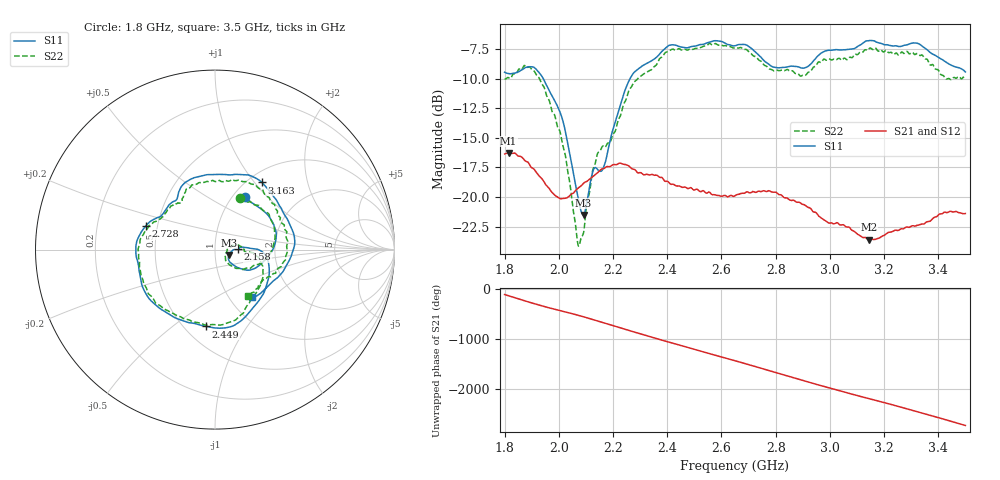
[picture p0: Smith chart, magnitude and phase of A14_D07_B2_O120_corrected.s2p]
! Created with skrf 1.9.0 (http://scikit-rf.org).
# Hz S RI R 50.0
!freq ReS11 ImS11 ReS21 ImS21 ReS12 ImS12 ReS22 ImS22
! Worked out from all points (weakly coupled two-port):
!   1601 points, 1.8 GHz to 3.5 GHz, reference 50 ohm
!   highest |S21| = -16.27 dB at 1.815 GHz (marker M1); lowest = -23.6 dB at 3.144 GHz (marker M2)
!   lowest |S11| = -21.5 dB at 2.091 GHz (marker M3), VSWR 1.18, Z = 58.4 - j3.46 ohm
!   |S11| at or under -10 dB: 1.943 GHz to 2.263 GHz (319.9 MHz wide, 15.2 % of centre)
!   |S22| runs from -24.2 to -7.0 dB; largest |S21 - S12| = 0.0029
!   S11 on the Smith chart (normalised r, x): 1.8 GHz: 1.13, +0.75; 2.158 GHz: 1.30, +0.01; 2.449 GHz: 0.64, -0.67; 2.728 GHz: 0.43, +0.14; 3.163 GHz: 1.16, +1.09; 3.5 GHz: 1.27, -0.76
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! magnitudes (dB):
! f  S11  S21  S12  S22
! 1.8 GHz  -9.5  -16.4  -16.4  -10.0
! 1.815 GHz  -9.6  -16.3  -16.3  -9.9
! 1.881 GHz  -9.0  -17.0  -17.0  -9.0
! 1.942 GHz  -10.0  -18.6  -18.6  -10.6
! 2.013 GHz  -13.4  -20.1  -20.1  -15.4
! 2.068 GHz  -19.7  -19.3  -19.3  -23.6
! 2.084 GHz  -21.3  -19.0  -19.0  -23.4
! 2.091 GHz  -21.5  -18.8  -18.9  -23.0
! 2.127 GHz  -17.7  -18.3  -18.2  -17.6
! 2.158 GHz  -17.8  -17.6  -17.6  -15.8
! 2.26 GHz  -10.1  -17.4  -17.4  -10.9
! 2.367 GHz  -8.0  -18.3  -18.2  -8.5
! 2.449 GHz  -7.3  -19.1  -19.1  -7.5
! 2.65 GHz  -7.2  -19.9  -19.9  -7.4
! 2.728 GHz  -7.8  -19.6  -19.6  -8.2
! 2.798 GHz  -9.0  -19.6  -19.6  -9.3
! 2.934 GHz  -8.7  -21.1  -21.1  -9.2
! 3.144 GHz  -6.8  -23.6  -23.5  -7.5
! 3.163 GHz  -6.8  -23.6  -23.6  -7.5
! 3.217 GHz  -7.2  -23.0  -23.0  -7.8
! 3.325 GHz  -7.0  -22.4  -22.4  -7.9
! 3.5 GHz  -9.4  -21.4  -21.4  -9.9
